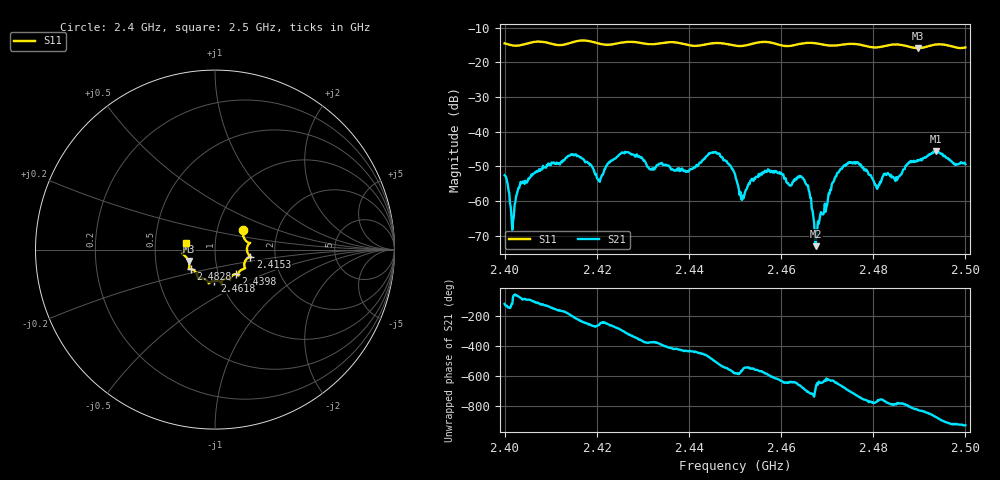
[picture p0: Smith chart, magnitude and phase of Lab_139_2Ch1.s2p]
# Hz S RI R 50
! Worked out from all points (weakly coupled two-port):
!   601 points, 2.4 GHz to 2.5 GHz, reference 50 ohm
!   highest |S21| = -45.66 dB at 2.4937 GHz (marker M1); lowest = -73.0 dB at 2.4675 GHz (marker M2)
!   lowest |S11| = -15.9 dB at 2.4897 GHz (marker M3), VSWR 1.38, Z = 36.9 - j4.83 ohm
!   |S11| at or under -10 dB: start of sweep to end of sweep
!   S12 and S22 are empty: the file has one direction only
!   S11 on the Smith chart (normalised r, x): 2.4 GHz: 1.33, +0.29; 2.4153 GHz: 1.48, -0.12; 2.4398 GHz: 1.21, -0.34; 2.4618 GHz: 0.94, -0.33; 2.4828 GHz: 0.74, -0.17; 2.5 GHz: 0.72, +0.06
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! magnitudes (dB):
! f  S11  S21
! 2.4 GHz  -14.5  -52.5
! 2.4018 GHz  -15.1  -65.8
! 2.4037 GHz  -15.0  -54.9
! 2.4153 GHz  -14.0  -46.5
! 2.4167 GHz  -13.7  -47.5
! 2.4205 GHz  -14.6  -54.2
! 2.4258 GHz  -14.2  -46.0
! 2.4333 GHz  -14.6  -49.5
! 2.4398 GHz  -15.0  -51.5
! 2.4455 GHz  -14.4  -45.9
! 2.45 GHz  -15.2  -52.2
! 2.4515 GHz  -15.3  -59.6
! 2.457 GHz  -14.1  -51.5
! 2.4618 GHz  -15.3  -55.4
! 2.4667 GHz  -14.4  -62.2
! 2.4675 GHz  -14.5  -73.0
! 2.474 GHz  -14.8  -49.9
! 2.4828 GHz  -15.2  -52.5
! 2.4833 GHz  -15.0  -52.2
! 2.4897 GHz  -15.9  -48.4
! 2.4937 GHz  -14.8  -45.7
! 2.5 GHz  -15.7  -49.3
